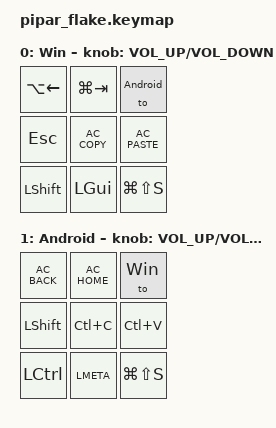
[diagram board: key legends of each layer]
/*
 * Copyright (c) 2022 The ZMK Contributors
 *
 * SPDX-License-Identifier: MIT
 */

#include <behaviors.dtsi>
#include <dt-bindings/zmk/keys.h>
#include <dt-bindings/zmk/pointing.h>

#define Win 0
#define Android 1

/ {
    sensors: sensors {
        compatible = "zmk,keymap-sensors";
        sensors = <&encoder_1>;
        triggers-per-rotation = <24>;
    };

    keymap {
        compatible = "zmk,keymap";

        // ============================================================
        // Windows
        //
        // ┌──────────┬──────────┬──────────┐
        // │   BACK   │ WIN+TAB  │ ENCODER  │
        // ├──────────┼──────────┼──────────┤
        // │    ESC   │ COPY     │ PASTE    │
        // ├──────────┼──────────┼──────────┤
        // │  LSHIFT  │ WINDOWS  │ WIN+SH+S │
        // └──────────┴──────────┴──────────┘
        //
        // Encoder:
        //   CW  = Volume Up
        //   CCW = Volume Down
        //
        // Encoder press:
        //   Chuyen sang Android
        // ============================================================

        Win {
            display-name = "Win";

            bindings = <
                &kp LA(LEFT)      &kp LG(TAB)      &to Android
                &kp ESC           &kp C_AC_COPY    &kp C_AC_PASTE
                &kp LEFT_SHIFT    &kp LGUI         &kp LG(LS(S))
            >;

            sensor-bindings = <
                &inc_dec_kp C_VOLUME_UP C_VOLUME_DOWN
            >;
        };

        // ============================================================
        // Android
        //
        // ┌──────────┬──────────┬──────────┐
        // │ BACK     │ HOME     │ ENCODER  │
        // ├──────────┼──────────┼──────────┤
        // │ LSHIFT   │ CTRL+C   │ CTRL+V   │
        // ├──────────┼──────────┼──────────┤
        // │  LCTRL   │ META     │ WIN+SH+S │
        // └──────────┴──────────┴──────────┘
        //
        // Encoder:
        //   CW  = Volume Up
        //   CCW = Volume Down
        //
        // Encoder press:
        //   Quay lai Windows
        // ============================================================

        Android {
            display-name = "Android";

            bindings = <
                &kp C_AC_BACK     &kp C_AC_HOME    &to Win
                &kp LSHIFT        &kp LC(C)        &kp LC(V)
                &kp LCTRL         &kp LMETA        &kp LG(LS(S))
            >;

            sensor-bindings = <
                &inc_dec_kp C_VOLUME_UP C_VOLUME_DOWN
            >;
        };
    };
};
